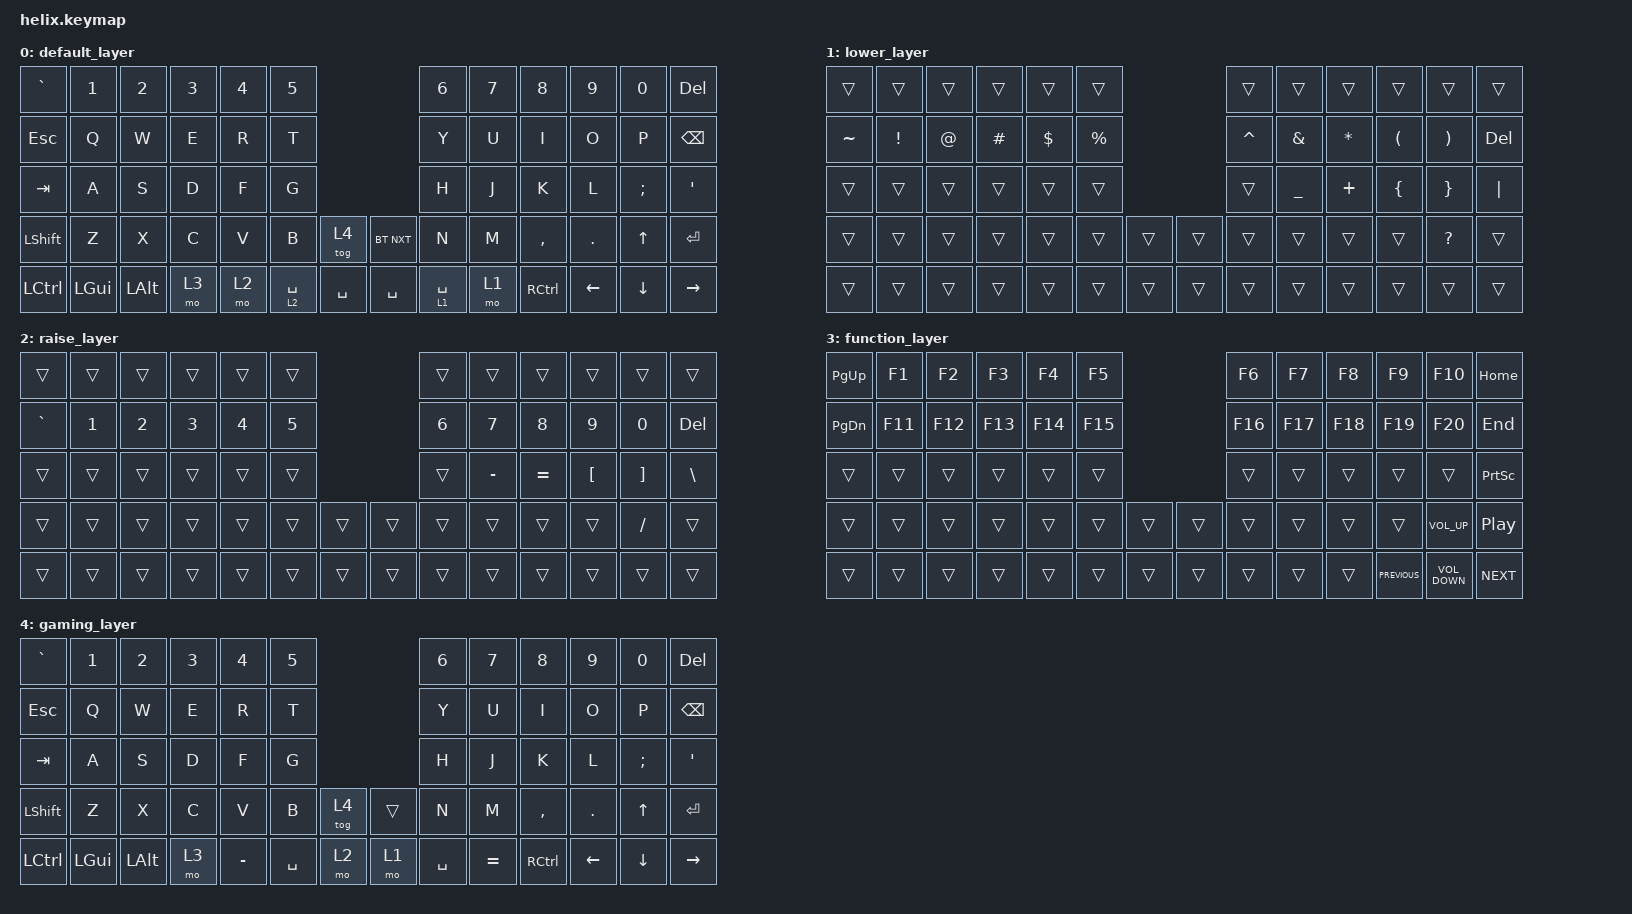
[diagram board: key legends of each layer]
/*
 * Copyright (c) 2020 The ZMK Contributors
 *
 * SPDX-License-Identifier: MIT
 */

#include <behaviors.dtsi>
#include <dt-bindings/zmk/bt.h>
#include <dt-bindings/zmk/keys.h>

#define DEFAULT 1
#define LOWER  2
#define RAISE  3
#define ADJUST 4

/* NOTE: At the time of the creation of this keymap, there are no specified codes for 'eisuu' and 'kana' input in ZMK.
However, 'LANG1' and 'LANG2' are fully-functioning candidates for 'kana' and 'eisuu' input respectively.
As such, those are in use within the default layer at this time.*/

&lt { tapping-term-ms = <200>; };

/ {
    macros {
        ctrl_shift: ctrl_shift {
            compatible = "zmk,behavior-macro";
            #binding-cells = <0>;
            bindings = <&kp LEFT_CONTROL &kp LEFT_SHIFT>, <&macro_press>;

            label = "CTRL_SHIFT";
        };

        alt_shift: alt_shift {
            compatible = "zmk,behavior-macro";
            #binding-cells = <0>;
            bindings = <&kp LEFT_ALT &kp LEFT_SHIFT>, <&macro_press>;

            label = "ALT_SHIFT";
        };
    };

    keymap {
        compatible = "zmk,keymap";

        default_layer {
            // ---------------------------------------------------------------------------------------------------------------------------------
            // | GRAVE  |   1    |   2    |   3    |   4    |   5    |                                      |   6    |   7    |   8    |   9    |   0    |  DEL   |
            // |  TAB   |   Q    |   W    |   E    |   R    |   T    |                                      |   Y    |   U    |   I    |   O    |   P    |  BSPC  |
            // |  CTRL  |   A    |   S    |   D    |   F    |   G    |                                      |   H    |   J    |   K    |   L    |   ;    |   '    |
            // |  SHIFT |   Z    |   X    |   C    |   V    |   B    |  LBKT  |                    |  RBKT  |   N    |   M    |   ,    |   .    |   /    |  RET   |
            // | ADJUST |  ESC   |  ALT   |  LGUI  | EISUU  | LOWER  | SPACE  |                    |  SPACE | RAISE  |  KANA  |  LEFT  |  DOWN  |  UP    |  RIGHT |

            bindings = <
&kp GRAVE         &kp N1        &kp N2    &kp N3  &kp N4  &kp N5                                &kp N6       &kp N7  &kp N8             &kp N9          &kp N0        &kp DEL
&kp ESCAPE        &kp Q         &kp W     &kp E   &kp R   &kp T                                 &kp Y        &kp U   &kp I              &kp O           &kp P         &kp BSPC
&kp TAB           &kp A         &kp S     &kp D   &kp F   &kp G                                 &kp H        &kp J   &kp K              &kp L           &kp SEMI      &kp SQT
&kp LSHFT         &kp Z         &kp X     &kp C   &kp V   &kp B        &tog 4       &bt BT_NXT  &kp N        &kp M   &kp COMMA          &kp PERIOD      &kp UP_ARROW  &kp RET
&kp LEFT_CONTROL  &kp LEFT_GUI  &kp LALT  &mo 3   &mo 2   &lt 2 SPACE  &kp SPACE    &kp SPACE   &lt 1 SPACE  &mo 1   &kp RIGHT_CONTROL  &kp LEFT_ARROW  &kp DOWN      &kp RIGHT
            >;
        };

        lower_layer {
            // ---------------------------------------------------------------------------------------------------------------------------------
            // |      |      |      |      |      |      |                                  |      |      |      |      |      |      |
            // |  ~   |  !   |  @   |  #   |  $   |  %   |                                  |  ^   |  &   |  *   |  (   |  )   |      |
            // |      |      |      |      |      |      |                                  |      |  _   |  +   |  {   |  }   | PIPE |
            // |      |      |      |      |      |      |  (   |                    |  )   |      |      |      | HOME | END  |      |
            // |      |      |      |      |      |      |      |                    |      |      |      |      |      |      |      |

            bindings = <
&trans     &trans    &trans  &trans    &trans    &trans                       &trans     &trans     &trans     &trans    &trans        &trans
&kp TILDE  &kp EXCL  &kp AT  &kp HASH  &kp DLLR  &kp PRCNT                    &kp CARET  &kp AMPS   &kp ASTRK  &kp LPAR  &kp RPAR      &kp DELETE
&trans     &trans    &trans  &trans    &trans    &trans                       &trans     &kp UNDER  &kp PLUS   &kp LBRC  &kp RBRC      &kp PIPE
&trans     &trans    &trans  &trans    &trans    &trans     &trans    &trans  &trans     &trans     &trans     &trans    &kp QUESTION  &trans
&trans     &trans    &trans  &trans    &trans    &trans     &trans    &trans  &trans     &trans     &trans     &trans    &trans        &trans
            >;
        };

        raise_layer {
            // ---------------------------------------------------------------------------------------------------------------------------------
            // |       |       |       |       |       |       |                                    |       |       |       |       |       |       |
            // |   `   |   1   |   2   |   3   |   4   |   5   |                                    |   6   |   7   |   8   |   9   |   0   |  DEL  |
            // |       |  F1   |  F2   |  F3   |  F4   |  F5   |                                    |  F6   |   -   |   =   |   [   |   ]   |   \   |
            // |       |  F7   |  F8   |  F9   |  F10  |  F11  |       |                    |       |  F12  |       | PSCRN | PG_DN | PG_UP |       |
            // |       |       |       |       |       |       |       |                    |       |       |       | NEXT  | VOL-  | VOL+  | PLAY  |

            bindings = <
&trans     &trans  &trans  &trans  &trans  &trans                    &trans  &trans     &trans     &trans    &trans     &trans
&kp GRAVE  &kp N1  &kp N2  &kp N3  &kp N4  &kp N5                    &kp N6  &kp N7     &kp N8     &kp N9    &kp N0     &kp DEL
&trans     &trans  &trans  &trans  &trans  &trans                    &trans  &kp MINUS  &kp EQUAL  &kp LBKT  &kp RBKT   &kp BSLH
&trans     &trans  &trans  &trans  &trans  &trans  &trans    &trans  &trans  &trans     &trans     &trans    &kp SLASH  &trans
&trans     &trans  &trans  &trans  &trans  &trans  &trans    &trans  &trans  &trans     &trans     &trans    &trans     &trans
            >;
        };

        function_layer {
            // ---------------------------------------------------------------------------------------------------------------------------------
            // |    `     |    !     |    @     |    #     |    $     |    %     |                                          |    ^     |    &     |    *     |    (     |    )     |  EP TOG  |
            // |  BT CLR  | BT SEL0  | BT SEL1  | BT SEL2  | BGT SEL3 | BT SEL4  |                                          | RGB EFF+ | RGB HUE+ | RGB SAT+ | RGB SPD+ | RGB BRI+ | RGB TOG  |
            // |  BT NXT  | OUT TOG  | OUT USB  | OUT BLE  |          |          |                                          | RGB EFF- | RGB HUE- | RGB SAT- | RGB SPD- | RGB BRI- |          |
            // |  BT PRV  |          |          |          |          |          |    {     |                    |    }     |          |          |          |          |          |          |
            // |          |          |          |          |          |          |          |                    |          |          |          |          |          |          |          |

            bindings = <
&kp PAGE_UP    &kp F1   &kp F2   &kp F3   &kp F4   &kp F5                     &kp F6   &kp F7   &kp F8   &kp F9          &kp F10            &kp HOME
&kp PAGE_DOWN  &kp F11  &kp F12  &kp F13  &kp F14  &kp F15                    &kp F16  &kp F17  &kp F18  &kp F19         &kp F20            &kp END
&trans         &trans   &trans   &trans   &trans   &trans                     &trans   &trans   &trans   &trans          &trans             &kp PRINTSCREEN
&trans         &trans   &trans   &trans   &trans   &trans   &trans    &trans  &trans   &trans   &trans   &trans          &kp C_VOLUME_UP    &kp C_PLAY_PAUSE
&trans         &trans   &trans   &trans   &trans   &trans   &trans    &trans  &trans   &trans   &trans   &kp C_PREVIOUS  &kp C_VOLUME_DOWN  &kp C_NEXT
            >;
        };

        gaming_layer {
            bindings = <
&kp GRAVE  &kp N1    &kp N2    &kp N3  &kp N4     &kp N5                       &kp N6     &kp N7     &kp N8     &kp N9    &kp N0        &kp DELETE
&kp ESC    &kp Q     &kp W     &kp E   &kp R      &kp T                        &kp Y      &kp U      &kp I      &kp O     &kp P         &kp BSPC
&kp TAB    &kp A     &kp S     &kp D   &kp F      &kp G                        &kp H      &kp J      &kp K      &kp L     &kp SEMI      &kp APOS
&kp LSHFT  &kp Z     &kp X     &kp C   &kp V      &kp B      &tog 4    &trans  &kp N      &kp M      &kp COMMA  &kp DOT   &kp UP_ARROW  &kp ENTER
&kp LCTRL  &kp LGUI  &kp LALT  &mo 3   &kp MINUS  &kp SPACE  &mo 2     &mo 1   &kp SPACE  &kp EQUAL  &kp RCTRL  &kp LEFT  &kp DOWN      &kp RIGHT
            >;
        };
    };
};
